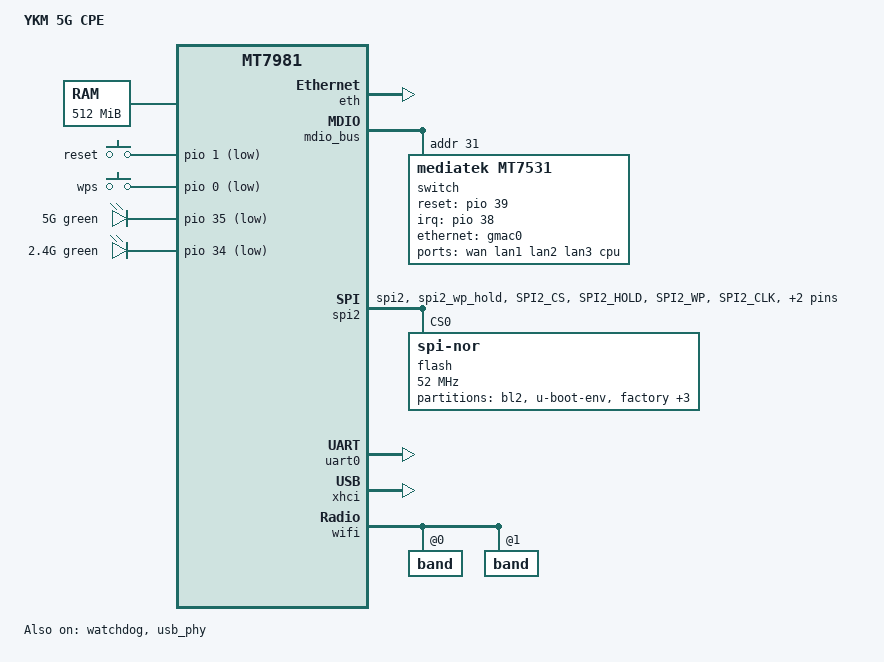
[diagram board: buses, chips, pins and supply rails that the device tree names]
// SPDX-License-Identifier: GPL-2.0-or-later OR MIT

/dts-v1/;
#include "mt7981.dtsi"

/ {
	model = "YKM 5G CPE";
	compatible = "cpe,ykm", "mediatek,mt7981";

	aliases {
		led-boot = &led_5g;
		led-failsafe = &led_5g;
		led-running = &led_5g;
		led-upgrade = &led_5g;
		serial0 = &uart0;
	};

	chosen {
		stdout-path = "serial0:115200n8";
	};

	memory {
		reg = <0 0x40000000 0 0x20000000>;
	};

	gpio-keys {
		compatible = "gpio-keys";

		button-reset {
			label = "reset";
			linux,code = <KEY_RESTART>;
			gpios = <&pio 1 GPIO_ACTIVE_LOW>;
		};

		button-wps {
			label = "wps";
			linux,code = <KEY_WPS_BUTTON>;
			linux,input-type = <EV_SW>;
			gpios = <&pio 0 GPIO_ACTIVE_LOW>;
		};
	};

	gpio-leds {
		compatible = "gpio-leds";

		led_5g: led-0 {
			label = "5G";
			function = LED_FUNCTION_STATUS;
			color = <LED_COLOR_ID_GREEN>;
			gpios = <&pio 35 GPIO_ACTIVE_LOW>;
		};

		led_24g: led-1 {
			label = "2.4G";
			function = LED_FUNCTION_STATUS;
			color = <LED_COLOR_ID_GREEN>;
			gpios = <&pio 34 GPIO_ACTIVE_LOW>;
		};
	};
};

&eth {
	status = "okay";

	gmac0: mac@0 {
		compatible = "mediatek,eth-mac";
		reg = <0>;
		phy-mode = "2500base-x";
		nvmem-cells = <&macaddr_factory_4 0>;
		nvmem-cell-names = "mac-address";

		fixed-link {
			speed = <2500>;
			full-duplex;
			pause;
		};
	};
};

&mdio_bus {
	switch: switch@1f {
		compatible = "mediatek,mt7531";
		reg = <31>;
		reset-gpios = <&pio 39 GPIO_ACTIVE_HIGH>;
		interrupt-controller;
		#interrupt-cells = <1>;
		interrupt-parent = <&pio>;
		interrupts = <38 IRQ_TYPE_LEVEL_HIGH>;
	};
};

&switch {
	ports {
		#address-cells = <1>;
		#size-cells = <0>;

		port@0 {
			reg = <0>;
			label = "wan";
			nvmem-cells = <&macaddr_factory_a 0>;
			nvmem-cell-names = "mac-address";
		};

		port@1 {
			reg = <1>;
			label = "lan1";
		};

		port@2 {
			reg = <2>;
			label = "lan2";
		};

		port@3 {
			reg = <3>;
			label = "lan3";
		};

		port@6 {
			reg = <6>;
			label = "cpu";
			ethernet = <&gmac0>;
			phy-mode = "2500base-x";

			fixed-link {
				speed = <2500>;
				full-duplex;
				pause;
			};
		};
	};
};

&spi2 {
	pinctrl-names = "default";
	pinctrl-0 = <&spi2_flash_pins>;
	status = "okay";

	flash@0 {
		compatible = "jedec,spi-nor";
		reg = <0>;
		#address-cells = <1>;
		#size-cells = <1>;
		spi-max-frequency = <52000000>;
		spi-tx-bus-width = <4>;
		spi-rx-bus-width = <4>;

		partitions {
			compatible = "fixed-partitions";
			#address-cells = <1>;
			#size-cells = <1>;

			partition@0 {
				label = "bl2";
				reg = <0x0 0x40000>;
				read-only;
			};

			partition@40000 {
				label = "u-boot-env";
				reg = <0x40000 0x10000>;
			};

			factory: partition@50000 {
				label = "factory";
				reg = <0x50000 0x8000>;
				read-only;

				nvmem-layout {
					compatible = "fixed-layout";
					#address-cells = <1>;
					#size-cells = <1>;

					eeprom_factory_0: eeprom@0 {
						reg = <0x0 0x1000>;
					};

					macaddr_factory_4: macaddr@4 {
						compatible = "mac-base";
						reg = <0x4 0x6>;
						#nvmem-cell-cells = <1>;
					};

					macaddr_factory_a: macaddr@a {
						compatible = "mac-base";
						reg = <0xa 0x6>;
						#nvmem-cell-cells = <1>;
					};
				};
			};

			partition@58000 {
				label = "bdinfo";
				reg = <0x58000 0x8000>;
				read-only;
			};

			partition@60000 {
				label = "fip";
				reg = <0x60000 0x80000>;
				read-only;
			};

			partition@e0000 {
				label = "ubi";
				compatible = "linux,ubi";
				reg = <0xe0000 0x1f20000>;
			};
		};
	};
};

&pio {
	spi0_flash_pins: spi0-pins {
		mux {
			function = "spi";
			groups = "spi0", "spi0_wp_hold";
		};
	};

	spi1_pins: spi1-pins {
		mux {
			function = "spi";
			groups = "spi1_1";
		};
	};

	spi2_flash_pins: spi2-pins {
		mux {
			function = "spi";
			groups = "spi2", "spi2_wp_hold";
		};

		conf-pu {
			pins = "SPI2_CS", "SPI2_HOLD", "SPI2_WP";
			drive-strength = <8>;
			bias-pull-up = <103>;
		};

		conf-pd {
			pins = "SPI2_CLK", "SPI2_MOSI", "SPI2_MISO";
			drive-strength = <8>;
			bias-pull-down = <103>;
		};
	};
};

&uart0 {
	status = "okay";
};

&watchdog {
	status = "okay";
};

&usb_phy {
	status = "okay";
};

&xhci {
	status = "okay";
};

&wifi {
	status = "okay";
	nvmem-cells = <&eeprom_factory_0>;
	nvmem-cell-names = "eeprom";

	band@0 {
		reg = <0>;
		nvmem-cells = <&macaddr_factory_4 1>;
		nvmem-cell-names = "mac-address";
	};

	band@1 {
		reg = <1>;
		nvmem-cells = <&macaddr_factory_4 2>;
		nvmem-cell-names = "mac-address";
	};
};
